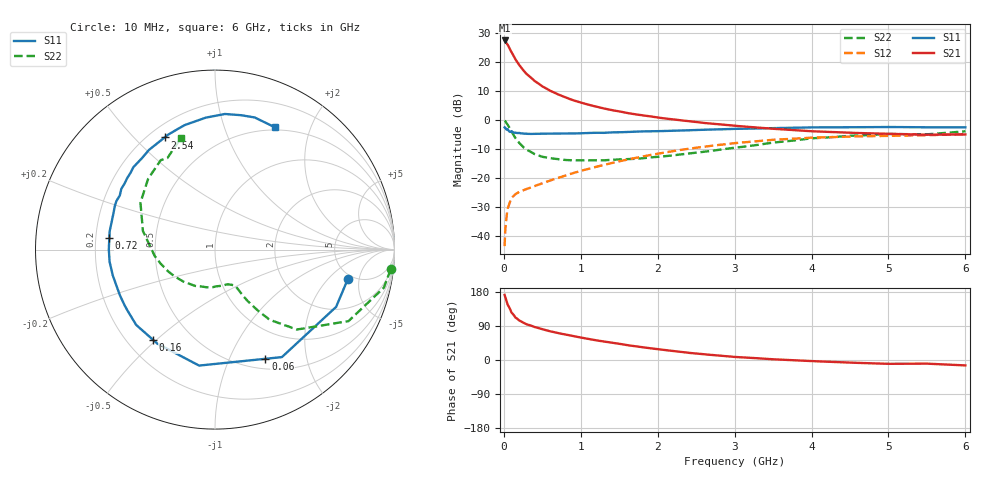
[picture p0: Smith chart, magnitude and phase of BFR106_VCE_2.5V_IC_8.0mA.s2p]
! Infineon Technologies  Discrete & RF Semiconductors
! BFR106
! VCE =  2.5 V,  IC =  8.0 mA
! Common Emitter S-Parameters:  Nov 2015
# GHz  S  MA  R  50
!  f  S11  S21  S12  S22
! GHz  MAG  ANG  MAG  ANG  MAG  ANG  MAG  ANG
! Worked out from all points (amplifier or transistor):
!   210 points, 10 MHz to 6 GHz, reference 50 ohm
!   highest |S21| = 27.5 dB at 10 MHz (marker M1)
!   |S21| within 3 dB of that: start of sweep to 78.89 MHz
!   unconditionally stable (mu >= 1): 522.7 MHz to 2.172 GHz; 4.662 GHz to end of sweep
!   at 185 MHz: K = 0.50, MSG = 22.3 dB, |S12| = -24.9 dB
!   at 1.52 GHz: K = 1.10, MAG = 6.6 dB, |S12| = -14.0 dB
!   at 6 GHz: K = 1.02, MAG = -0.9 dB, |S12| = -4.7 dB
!   S11 on the Smith chart (normalised r, x): 10 MHz: 4.45, -3.48; 60 MHz: 0.62, -1.37; 160 MHz: 0.30, -0.49; 720 MHz: 0.26, +0.05; 2.54 GHz: 0.26, +0.62; 6 GHz: 0.47, +1.50
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0.01  0.7576 -12.7  23.84 171.8  0.0068 85.5  0.9853 -6.4
0.02  0.7465 -25.3  23.16 165.1  0.0136 77.2  0.9645 -12.7
0.05  0.7055 -58.1  20.09 145.8  0.03 62.7  0.8438 -28.2
0.06  0.67 -65.2  18.91 142.6  0.0331 59.2  0.7983 -30.7
0.1  0.6522 -97.8  15.01 125.1  0.0461 50.1  0.6373 -44.3
0.15  0.6146 -121.4  11.28 112.2  0.0535 43.5  0.4956 -52.1
0.16  0.6099 -124.3  10.81 110.9  0.0545 43.2  0.4781 -52.6
0.2  0.6074 -136.3  9.002 104.3  0.0585 42.2  0.4084 -55.1
0.26  0.5915 -148.5  7.13 97.4  0.063 42.8  0.3396 -57.6
0.3  0.5877 -154.5  6.226 93.9  0.066 43.7  0.3111 -58.5
0.4  0.5875 -165.8  4.782 87.0  0.0738 46.1  0.2628 -59.5
0.5  0.5911 -173.4  3.861 81.1  0.0823 49.3  0.236 -60.5
0.6  0.5916 180.0  3.257 75.8  0.0918 51.8  0.2233 -62.7
0.72  0.5925 173.6  2.754 70.4  0.1036 54.3  0.2135 -66.1
1.02  0.6007 160.4  1.992 58.5  0.137 57.8  0.2049 -76.2
1.4  0.6223 147.0  1.502 45.7  0.1838 58.4  0.2096 -93.3
2.02  0.6528 128.3  1.111 28.1  0.2694 53.8  0.2364 -125.4
2.54  0.6854 114.2  0.924 16.3  0.3435 46.9  0.2813 -152.3
3.1  0.7169 101.7  0.788 7.0  0.4159 37.6  0.3494 -178.7
4.1  0.7578 84.4  0.642 -3.7  0.5077 20.3  0.4985 144.7
5.1  0.7665 72.2  0.582 -10.0  0.5458 5.8  0.5811 120.4
6  0.7589 64.0  0.572 -14.3  0.58 -4.5  0.649 107.2
